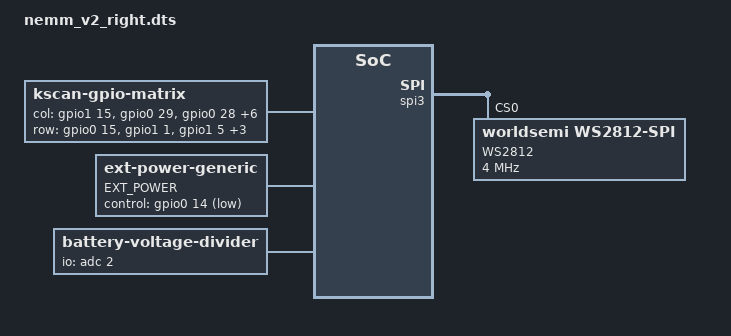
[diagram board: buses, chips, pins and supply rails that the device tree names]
/*
# Copyright (c) 2021 The ZMK Contributors
*
* SPDX-License-Identifier: MIT
*/

#include "nemm_v1.dts"
#include "nemm_v1_right_pinctrl.dtsi"

/{
	chosen {
		zmk,battery = &vbatt;
		zmk,underglow = &led_strip;

	};

	kscan0: kscan {
		compatible = "zmk,kscan-gpio-matrix";
		label = "KSCAN";
		diode-direction = "col2row";

		col-gpios
			= <&gpio1 15  GPIO_ACTIVE_HIGH>
			, <&gpio0 29 GPIO_ACTIVE_HIGH>
			, <&gpio0 28 GPIO_ACTIVE_HIGH>
			, <&gpio0 6  GPIO_ACTIVE_HIGH>
			, <&gpio0 20 GPIO_ACTIVE_HIGH>
			, <&gpio0 22  GPIO_ACTIVE_HIGH>
			, <&gpio0 24 GPIO_ACTIVE_HIGH>
			, <&gpio1 0 GPIO_ACTIVE_HIGH>
			, <&gpio0 25 GPIO_ACTIVE_HIGH>
			;

		row-gpios
			= <&gpio0 15 (GPIO_ACTIVE_HIGH | GPIO_PULL_DOWN)>
			, <&gpio1 1  (GPIO_ACTIVE_HIGH | GPIO_PULL_DOWN)>
			, <&gpio1 5  (GPIO_ACTIVE_HIGH | GPIO_PULL_DOWN)>
			, <&gpio1 7  (GPIO_ACTIVE_HIGH | GPIO_PULL_DOWN)>
			, <&gpio0 10 (GPIO_ACTIVE_HIGH | GPIO_PULL_DOWN)>
			, <&gpio0 23 (GPIO_ACTIVE_HIGH | GPIO_PULL_DOWN)>
			;
	};

	ext-power {
		compatible = "zmk,ext-power-generic";
		label = "EXT_POWER";
		control-gpios = <&gpio0 14 GPIO_ACTIVE_LOW>;   /*0.14*/
	};
	
	vbatt: vbatt {
		compatible = "zmk,battery-voltage-divider";
		label = "BATTERY";
		io-channels = <&adc 2>;
		output-ohms = <10000000>;
		full-ohms   = <(10000000 + 4000000)>;
	};
};

&default_transform {
	col-offset = <9>;
};

&spi3 {
  compatible = "nordic,nrf-spim";
  status = "okay";

  pinctrl-0 = <&spi3_default>;
  pinctrl-1 = <&spi3_sleep>;
  pinctrl-names = "default", "sleep";

  led_strip: ws2812@0 {
    compatible = "worldsemi,ws2812-spi";
    label = "WS2812";

    /* SPI */
    reg = <0>; /* ignored, but necessary for SPI bindings */
    spi-max-frequency = <4000000>;

    /* WS2812 */
    chain-length = <8>; /* number of LEDs */
    spi-one-frame = <0x70>;
    spi-zero-frame = <0x40>;
    color-mapping = <LED_COLOR_ID_GREEN
                          LED_COLOR_ID_RED
                          LED_COLOR_ID_BLUE>;
  };
};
